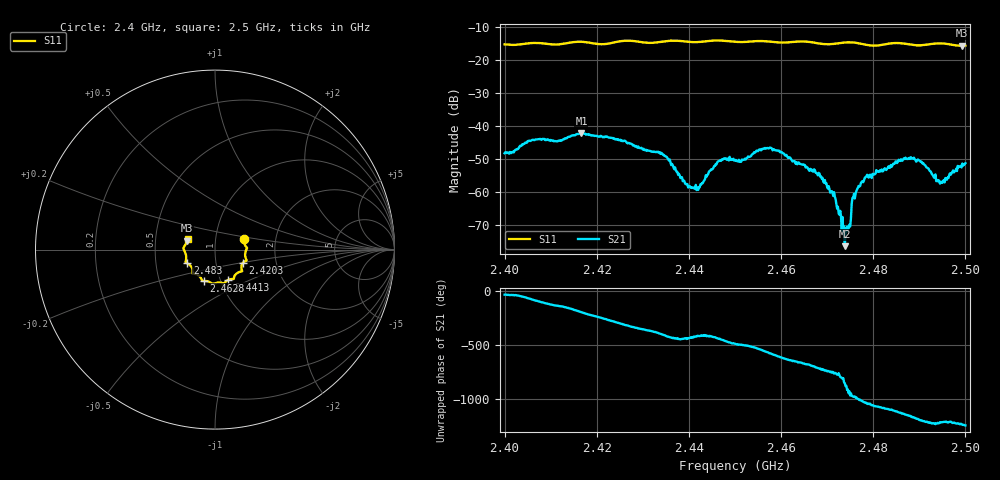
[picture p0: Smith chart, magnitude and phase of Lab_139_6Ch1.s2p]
# Hz S RI R 50
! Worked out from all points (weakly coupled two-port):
!   601 points, 2.4 GHz to 2.5 GHz, reference 50 ohm
!   highest |S21| = -42.23 dB at 2.4167 GHz (marker M1); lowest = -76.4 dB at 2.4738 GHz (marker M2)
!   lowest |S11| = -15.8 dB at 2.4993 GHz (marker M3), VSWR 1.39, Z = 36.5 + j3.71 ohm
!   |S11| at or under -10 dB: start of sweep to end of sweep
!   S12 and S22 are empty: the file has one direction only
!   S11 on the Smith chart (normalised r, x): 2.4 GHz: 1.37, +0.16; 2.4203 GHz: 1.35, -0.21; 2.4413 GHz: 1.09, -0.38; 2.4628 GHz: 0.83, -0.30; 2.483 GHz: 0.72, -0.11; 2.5 GHz: 0.73, +0.09
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2.4e9  0.1606 0.0568  0.00316 -0.00221  0 0  0 0
2.4055e9  0.1771 0.0115  0.00176 -0.00565  0 0  0 0
2.416667e9  0.1759 -0.0613  -0.00737 0.00235  0 0  0 0
2.420333e9  0.1555 -0.0737  -0.00329 0.00605  0 0  0 0
2.433333e9  0.1081 -0.1483  0.00354 -0.00199  0 0  0 0
2.441333e9  0.0744 -0.1681  0.000502 -0.000997  0 0  0 0
2.446667e9  0.0481 -0.1888  0.000411 -0.00294  0 0  0 0
2.45e9  0.0294 -0.1837  -0.0019 -0.00231  0 0  0 0
2.457333e9  -0.0184 -0.1873  -0.00378 0.00251  0 0  0 0
2.462833e9  -0.063 -0.1749  0.00103 0.00277  0 0  0 0
2.466667e9  -0.0744 -0.1675  0.00193 0.001  0 0  0 0
2.471333e9  -0.105 -0.1374  0.000724 -0.000488  0 0  0 0
2.473833e9  -0.1223 -0.1344  -0.000109 -0.000106  0 0  0 0
2.474667e9  -0.1245 -0.1339  -0.000185 0.000214  0 0  0 0
2.475833e9  -0.1252 -0.1312  -0.00013 0.000934  0 0  0 0
2.477167e9  -0.1242 -0.1234  0.00039 0.00117  0 0  0 0
2.483e9  -0.1548 -0.0765  0.00218 -0.000481  0 0  0 0
2.483333e9  -0.157 -0.0757  0.00237 -0.000629  0 0  0 0
2.488667e9  -0.1604 -0.045  3.09e-05 -0.00321  0 0  0 0
2.495e9  -0.1754 0.0108  -0.00099 -0.000956  0 0  0 0
2.499333e9  -0.1542 0.0495  -0.00255 -0.000892  0 0  0 0
2.5e9  -0.1527 0.0586  -0.00265 -0.000647  0 0  0 0
